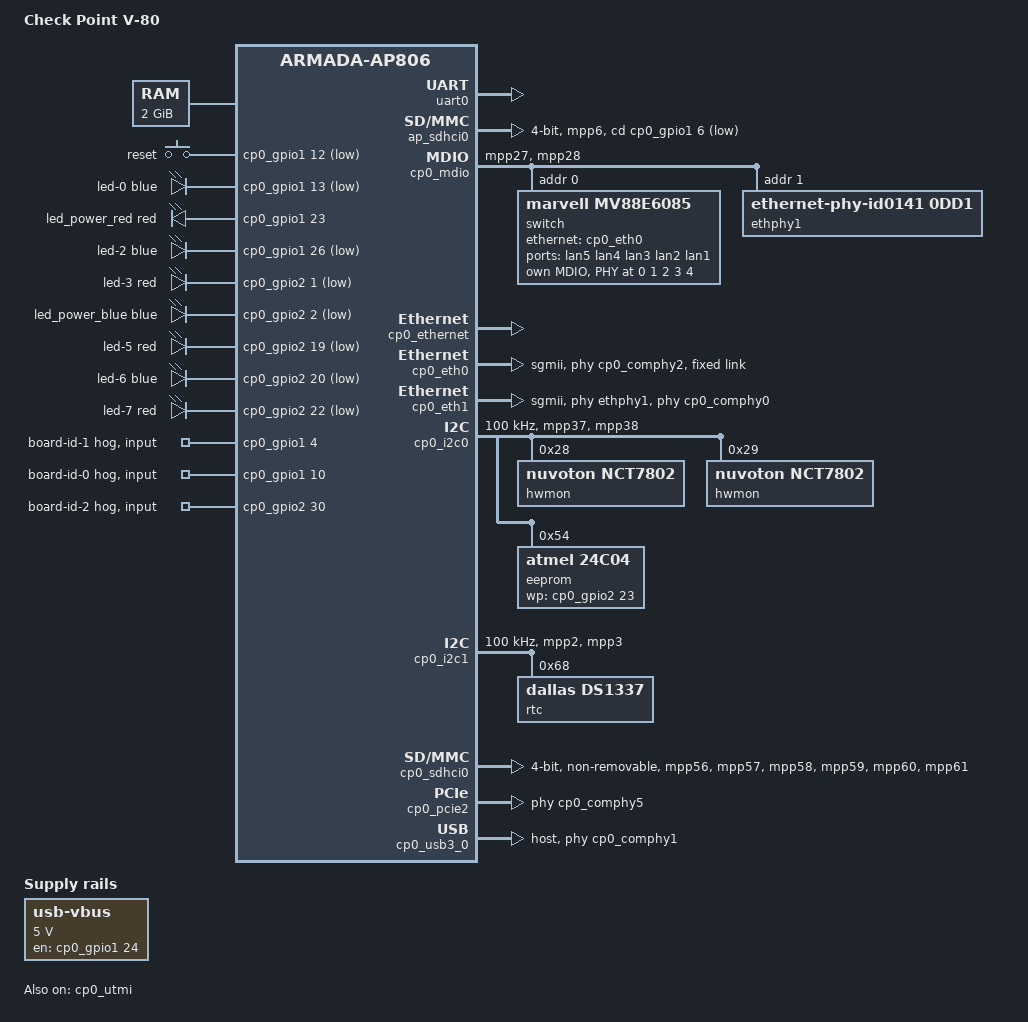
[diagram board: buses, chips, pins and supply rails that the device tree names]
// SPDX-License-Identifier: GPL-2.0-or-later OR MIT

/dts-v1/;

#include <dt-bindings/gpio/gpio.h>
#include <dt-bindings/input/input.h>
#include <dt-bindings/interrupt-controller/irq.h>
#include <dt-bindings/leds/common.h>
#include "armada-7040.dtsi"

/ {
	model = "Check Point V-80";
	compatible = "checkpoint,v-80", "marvell,armada7040",
		     "marvell,armada-ap806-quad", "marvell,armada-ap806";

	aliases {
		ethernet0 = &cp0_eth0;
		ethernet1 = &cp0_eth1;
		mmc0 = &ap_sdhci0;
		mmc1 = &cp0_sdhci0;
		led-boot = &led_power_blue;
		led-failsafe = &led_power_red;
		led-running = &led_power_blue;
		led-upgrade = &led_power_blue;
		label-mac-device = &cp0_eth1;
	};

	chosen {
		stdout-path = "serial0:115200n8";
	};

	memory@0 {
		device_type = "memory";
		reg = <0x00000000 0x00000000 0x00000000 0x80000000>;
	};

	keys {
		compatible = "gpio-keys";
		pinctrl-0 = <&pmx_gpio_keys_pins>;
		pinctrl-names = "default";

		button-reset {
			label = "reset";
			gpios = <&cp0_gpio1 12 GPIO_ACTIVE_LOW>;
			linux,code = <KEY_RESTART>;
		};
	};

	leds {
		compatible = "gpio-leds";
		pinctrl-0 = <&pmx_gpio_leds_pins>;
		pinctrl-names = "default";

		/* populated but no hole on the case */
		led-0 {
			gpios = <&cp0_gpio1 13 GPIO_ACTIVE_LOW>;
			color = <LED_COLOR_ID_BLUE>;
			function = LED_FUNCTION_WLAN;
		};

		led_power_red: led-1 {
			gpios = <&cp0_gpio1 23 GPIO_ACTIVE_HIGH>;
			color = <LED_COLOR_ID_RED>;
			function = LED_FUNCTION_POWER;
		};

		led-2 {
			gpios = <&cp0_gpio1 26 GPIO_ACTIVE_LOW>;
			color = <LED_COLOR_ID_BLUE>;
			function = LED_FUNCTION_WAN_ONLINE;
		};

		/* populated but no hole on the case */
		led-3 {
			gpios = <&cp0_gpio2 1 GPIO_ACTIVE_LOW>;
			color = <LED_COLOR_ID_RED>;
			function = LED_FUNCTION_WLAN;
		};

		led_power_blue: led-4 {
			gpios = <&cp0_gpio2 2 GPIO_ACTIVE_LOW>;
			color = <LED_COLOR_ID_BLUE>;
			function = LED_FUNCTION_POWER;
		};

		led-5 {
			gpios = <&cp0_gpio2 19 GPIO_ACTIVE_LOW>;
			color = <LED_COLOR_ID_RED>;
			function = "management";
		};

		led-6 {
			gpios = <&cp0_gpio2 20 GPIO_ACTIVE_LOW>;
			color = <LED_COLOR_ID_BLUE>;
			function = "management";
		};

		led-7 {
			gpios = <&cp0_gpio2 22 GPIO_ACTIVE_LOW>;
			color = <LED_COLOR_ID_RED>;
			function = LED_FUNCTION_WAN_ONLINE;
		};
	};

	regulator-usb-vbus {
		compatible = "regulator-fixed";
		pinctrl-0 = <&pmx_reg_usb_vbus_pins>;
		pinctrl-names = "default";
		regulator-name = "usb-vbus";
		gpios = <&cp0_gpio1 24 GPIO_ACTIVE_HIGH>;
		regulator-min-microvolt = <5000000>;
		regulator-max-microvolt = <5000000>;
		enable-active-high;
		regulator-always-on;
	};
};

/* USB Type-C UART console */
&uart0 {
	status = "okay";

	pinctrl-0 = <&uart0_pins>;
	pinctrl-names = "default";
};

/*
 * internal MicroSD slot
 * (Note: not populated on some HW versions)
 */
&ap_sdhci0 {
	status = "okay";

	pinctrl-0 = <&pmx_ap_sdhci0_pins>;
	pinctrl-names = "default";
	bus-width = <4>;
	cd-gpios = <&cp0_gpio1 6 GPIO_ACTIVE_LOW>;
	/*
	 * Not stable in HS modes - phy needs "more calibration", so add
	 * the "slow-mode" and disable SDR104, SDR50 and DDR50 modes.
	 */
	marvell,xenon-phy-slow-mode;
	no-1-8-v;
};

&cp0_pinctrl {
	pinctrl-0 = <&pmx_board_id_pins>;
	pinctrl-names = "default";

	pmx_ap_sdhci0_pins: ap-sdhci0-pins {
		marvell,pins = "mpp6";
		marvell,function = "gpio";
	};

	pmx_cp0_mdio_pins: cp0-mdio-pins {
		marvell,pins = "mpp27", "mpp28";
		marvell,function = "ge";
	};

	pmx_cp0_spi1_pins: cp0-spi1-pins {
		marvell,pins = "mpp47", "mpp48", "mpp49", "mpp50";
		marvell,function = "spi1";
	};

	pmx_cp0_i2c0_pins: cp0-i2c0-pins {
		marvell,pins = "mpp37", "mpp38";
		marvell,function = "i2c0";
	};

	pmx_cp0_i2c1_pins: cp0-i2c1-pins {
		marvell,pins = "mpp2", "mpp3";
		marvell,function = "i2c1";
	};

	pmx_cp0_sdhci0_pins: cp0-sdhci0-pins {
		marvell,pins = "mpp56", "mpp57", "mpp58", "mpp59", "mpp60", "mpp61";
		marvell,function = "sdio";
	};

	pmx_gpio_keys_pins: gpio-keys-pins {
		marvell,pins = "mpp12";
		marvell,function = "gpio";
	};

	pmx_gpio_leds_pins: gpio-leds-pins {
		marvell,pins = "mpp13", "mpp23", "mpp26", "mpp33", "mpp34", "mpp51",
			       "mpp52", "mpp54";
		marvell,function = "gpio";
	};

	pmx_reg_usb_vbus_pins: reg-usb-vbus-pins {
		marvell,pins = "mpp24";
		marvell,function = "gpio";
	};

	pmx_board_id_pins: board-id-pins {
		marvell,pins = "mpp4", "mpp10", "mpp62";
		marvell,function = "gpio";
	};

	pmx_eeprom_wp_pins: eeprom-wp-pins {
		marvell,pins = "mpp55";
		marvell,function = "gpio";
	};
};

&cp0_mdio {
	status = "okay";

	pinctrl-0 = <&pmx_cp0_mdio_pins>;
	pinctrl-names = "default";

	/* Marvell 88E6352 */
	switch@0 {
		compatible = "marvell,mv88e6085";
		reg = <0x0>;

		ports {
			#address-cells = <1>;
			#size-cells = <0>;

			swport0: port@0 {
				reg = <0x0>;
				label = "lan5";
				phy-handle = <&swphy0>;
			};

			swport1: port@1 {
				reg = <0x1>;
				label = "lan4";
				phy-handle = <&swphy1>;
			};

			swport2: port@2 {
				reg = <0x2>;
				label = "lan3";
				phy-handle = <&swphy2>;
			};

			swport3: port@3 {
				reg = <0x3>;
				label = "lan2";
				phy-handle = <&swphy3>;
			};

			swport4: port@4 {
				reg = <0x4>;
				label = "lan1";
				phy-handle = <&swphy4>;
			};

			port@5 {
				reg = <0x5>;
				ethernet = <&cp0_eth0>;
				phy-connection-type = "sgmii";

				fixed-link {
					speed = <1000>;
					full-duplex;
				};
			};
		};

		mdio {
			#address-cells = <1>;
			#size-cells = <0>;

			swphy0: switch-phy@0 {
				reg = <0x0>;
			};

			swphy1: switch-phy@1 {
				reg = <0x1>;
			};

			swphy2: switch-phy@2 {
				reg = <0x2>;
			};

			swphy3: switch-phy@3 {
				reg = <0x3>;
			};

			swphy4: switch-phy@4 {
				reg = <0x4>;
			};
		};
	};

	/* Marvell 88E1512 */
	ethphy1: ethernet-phy@1 {
		compatible = "ethernet-phy-id0141,0dd1",
			     "ethernet-phy-ieee802.3-c22";
		reg = <0x1>;
		/*
		 * LED[0] (Green): LINK/ACT
		 * LED[1] (Amber): SPEED 100/1000M
		 */
		marvell,reg-init = <3 16 0 0x61>;
	};
};

&cp0_ethernet {
	status = "okay";
};

/* LAN1-5 (Switch) */
&cp0_eth0 {
	status = "okay";

	phy-connection-type = "sgmii";
	phys = <&cp0_comphy2 0>;

	fixed-link {
		speed = <1000>;
		full-duplex;
	};
};

/* "WAN" */
&cp0_eth1 {
	status = "okay";

	phy-connection-type = "sgmii";
	phy-handle = <&ethphy1>;
	phys = <&cp0_comphy0 1>;
};

&cp0_gpio1 {
	board-id-1 {
		gpio-hog;
		gpios = <4 GPIO_ACTIVE_HIGH>;
		input;
	};

	board-id-0 {
		gpio-hog;
		gpios = <10 GPIO_ACTIVE_HIGH>;
		input;
	};
};

&cp0_gpio2 {
	board-id-2 {
		gpio-hog;
		gpios = <30 GPIO_ACTIVE_HIGH>;
		input;
	};
};

/* 2x NCT7802Y, EEPROM */
&cp0_i2c0 {
	status = "okay";

	pinctrl-names = "default";
	pinctrl-0 = <&pmx_cp0_i2c0_pins>;
	clock-frequency = <100000>;

	hwmon@28 {
		compatible = "nuvoton,nct7802";
		reg = <0x28>;
	};

	hwmon@29 {
		compatible = "nuvoton,nct7802";
		reg = <0x29>;
	};

	/* Giantec GT24C04A */
	eeprom@54 {
		compatible = "atmel,24c04";
		pinctrl-0 = <&pmx_eeprom_wp_pins>;
		pinctrl-names = "default";
		reg = <0x54>;
		wp-gpios = <&cp0_gpio2 23 GPIO_ACTIVE_HIGH>;
		read-only;
	};
};

/* RTC */
&cp0_i2c1 {
	status = "okay";

	pinctrl-names = "default";
	pinctrl-0 = <&pmx_cp0_i2c1_pins>;
	clock-frequency = <100000>;

	rtc@68 {
		compatible = "dallas,ds1337";
		reg = <0x68>;
	};
};

/* eMMC */
&cp0_sdhci0 {
	status = "okay";

	pinctrl-names = "default";
	pinctrl-0 = <&pmx_cp0_sdhci0_pins>;
	bus-width = <4>;
	non-removable;
};

/*
 * mPCIe slot
 * (Note: not populated on some HW versions)
 */
&cp0_pcie2 {
	status = "okay";

	phys = <&cp0_comphy5 2>;
	phy-names = "cp0-pcie2-x1-phy";
};

&cp0_utmi {
	status = "okay";
};

/* USB 3.0 Type-A */
&cp0_usb3_0 {
	status = "okay";

	dr_mode = "host";
	phys = <&cp0_comphy1 0>, <&cp0_utmi0>;
	phy-names = "cp0-usb3h0-comphy", "utmi";
};
